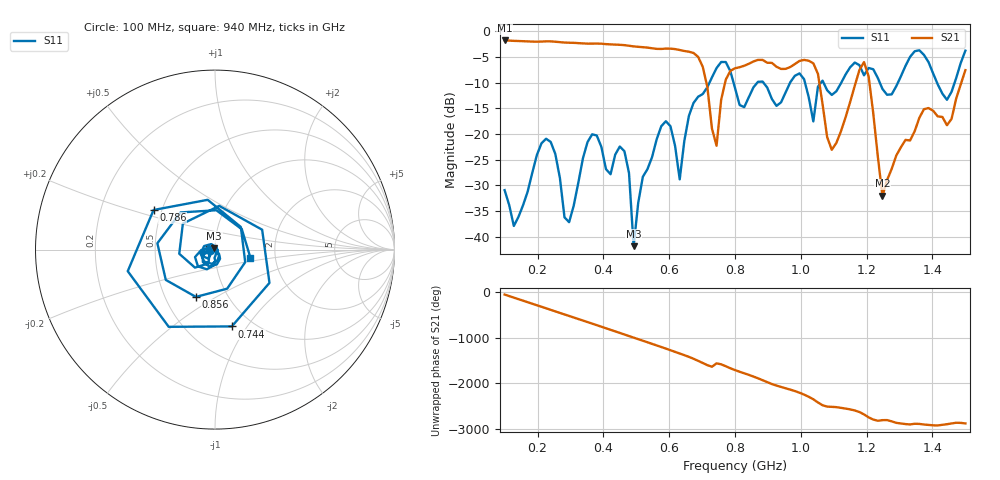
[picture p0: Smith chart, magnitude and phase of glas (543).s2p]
! NanoVNA-App
! Date: 2025-09-25 15:59:42
! Start: 100MHz Stop: 1,5GHz Points: 101
! S-Parameter data: F S11 S21 S12 S22
# Hz S RI R 50
!  Frequency  S11_Real  S11_Imag  S21_Real  S21_Imag  S12_Real  S12_Imag  S22_Real  S22_Imag
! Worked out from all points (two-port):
!   101 points, 100 MHz to 1.5 GHz, reference 50 ohm
!   highest |S21| = -1.80 dB at 100 MHz (marker M1); lowest = -32.0 dB at 1.248 GHz (marker M2)
!   |S21| within 3 dB of the highest: start of sweep to 684.5 MHz
!   lowest |S11| = -41.8 dB at 492 MHz (marker M3), VSWR 1.02, Z = 49.5 + j0.618 ohm
!   |S11| at or under -10 dB: start of sweep to 722.6 MHz; 795.5 MHz to 868 MHz (72.47 MHz wide, 8.71 % of centre); 886.2 MHz to 967.5 MHz (81.26 MHz wide, 8.77 % of centre) (the widest 3 of 7)
!   S12 and S22 are empty: the file has one direction only
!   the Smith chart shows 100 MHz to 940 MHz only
!   S11 on the Smith chart (normalised r, x): 100 MHz: 0.95, -0.01; 744 MHz: 0.80, -0.85; 786 MHz: 0.45, +0.24; 856 MHz: 0.71, -0.41; 940 MHz: 1.48, -0.14
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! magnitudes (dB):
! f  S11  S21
! 100 MHz  -30.9  -1.8
! 128 MHz  -37.9  -1.9
! 226 MHz  -20.9  -2.0
! 296 MHz  -37.2  -2.2
! 338 MHz  -24.7  -2.4
! 464 MHz  -23.4  -2.7
! 492 MHz  -41.8  -3.0
! 576 MHz  -18.5  -3.5
! 632 MHz  -28.8  -3.7
! 702 MHz  -12.2  -6.9
! 744 MHz  -7.2  -22.3
! 786 MHz  -7.8  -7.7
! 800 MHz  -11.0  -7.2
! 856 MHz  -10.9  -5.9
! 940 MHz  -13.8  -7.3
! 996 MHz  -8.2  -5.8
! 1.038 GHz  -17.6  -6.3
! 1.094 GHz  -12.4  -23.1
! 1.192 GHz  -8.6  -6.0
! 1.248 GHz  -11.2  -32.0
! 1.276 GHz  -12.3  -26.8
! 1.5 GHz  -3.8  -7.6
